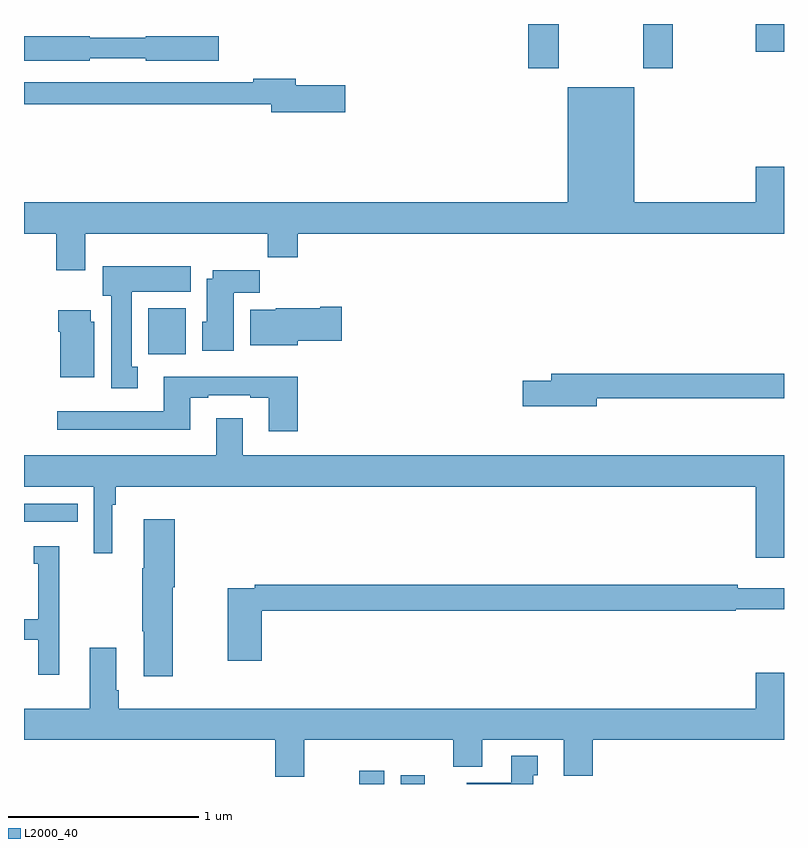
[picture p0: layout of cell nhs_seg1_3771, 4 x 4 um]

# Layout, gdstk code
import gdstk
lib = gdstk.Library(unit=1e-6, precision=1e-09)
def R(c, l, rs):  # rectangles x0, y0, x1, y1
    for r in rs: c.add(gdstk.rectangle(r[:2], r[2:], *l))
def P(c, l, *ps):  # polygons
    for p in ps: c.add(gdstk.Polygon(p, *l))
L2000_40 = (2000, 40)

nhs_seg1_3771 = lib.new_cell('nhs_seg1_3771')
R(nhs_seg1_3771, L2000_40, [(318.764,518.199,318.895,518.269), (318.983,518.199,319.108,518.245), (317,519.579,317.282,519.675), (317.654,520.46,317.851,520.702), (319.655,521.967,319.815,522.199), (320.26,521.967,320.415,522.199), (320.852,522.054,321,522.199)])
P(nhs_seg1_3771, L2000_40, [(317.346,522.018),(317.64,522.018),(317.64,522.005),(318.025,522.005),(318.025,522.135),(317.64,522.135),(317.64,522.127),(317.346,522.127),(317.346,522.135),(317,522.135),(317,522.005),(317.346,522.005)],
  [(318.691,521.876),(318.43,521.876),(318.43,521.912),(318.206,521.912),(318.206,521.892),(317,521.892),(317,521.776),(318.302,521.776),(318.302,521.734),(318.691,521.734)],
  [(317.323,521.096),(318.283,521.096),(318.283,520.972),(318.44,520.972),(318.44,521.096),(321,521.096),(321,521.449),(320.852,521.449),(320.852,521.26),(320.212,521.26),(320.212,521.866),(319.862,521.866),(319.862,521.26),(317,521.26),(317,521.096),(317.171,521.096),(317.171,520.902),(317.323,520.902)],
  [(317.599,520.394),(317.566,520.394),(317.566,520.79),(317.878,520.79),(317.878,520.924),(317.414,520.924),(317.414,520.77),(317.459,520.77),(317.459,520.281),(317.599,520.281)],
  [(318.103,520.784),(318.242,520.784),(318.242,520.903),(317.993,520.903),(317.993,520.858),(317.963,520.858),(317.963,520.632),(317.939,520.632),(317.939,520.478),(318.103,520.478)],
  [(318.442,520.532),(318.673,520.532),(318.673,520.71),(318.56,520.71),(318.56,520.702),(318.324,520.702),(318.324,520.696),(318.191,520.696),(318.191,520.508),(318.442,520.508)],
  [(317.371,520.632),(317.35,520.632),(317.35,520.693),(317.18,520.693),(317.18,520.58),(317.192,520.58),(317.192,520.34),(317.371,520.34)],
  [(320.014,520.23),(321,520.23),(321,520.358),(319.775,520.358),(319.775,520.322),(319.626,520.322),(319.626,520.187),(320.014,520.187)],
  [(318.44,520.342),(317.735,520.342),(317.735,520.161),(317.175,520.161),(317.175,520.064),(317.875,520.064),(317.875,520.233),(317.971,520.233),(317.971,520.245),(318.191,520.245),(318.191,520.233),(318.287,520.233),(318.287,520.056),(318.44,520.056)],
  [(321,519.928),(318.151,519.928),(318.151,520.123),(318.011,520.123),(318.011,519.928),(317,519.928),(317,519.764),(317.367,519.764),(317.367,519.414),(317.464,519.414),(317.464,519.668),(317.483,519.668),(317.483,519.764),(320.852,519.764),(320.852,519.39),(321,519.39)],
  [(317.784,519.234),(317.794,519.234),(317.794,519.592),(317.63,519.592),(317.63,519.334),(317.623,519.334),(317.623,519.004),(317.63,519.004),(317.63,518.766),(317.784,518.766)],
  [(317.185,519.451),(317.051,519.451),(317.051,519.357),(317.075,519.357),(317.075,519.066),(317,519.066),(317,518.958),(317.075,518.958),(317.075,518.775),(317.185,518.775)],
  [(318.251,519.112),(320.746,519.112),(320.746,519.12),(321,519.12),(321,519.229),(320.756,519.229),(320.756,519.248),(318.214,519.248),(318.214,519.228),(318.073,519.228),(318.073,518.847),(318.251,518.847)],
  [(318.475,518.432),(319.259,518.432),(319.259,518.291),(319.411,518.291),(319.411,518.432),(319.841,518.432),(319.841,518.243),(319.994,518.243),(319.994,518.432),(321,518.432),(321,518.785),(320.852,518.785),(320.852,518.596),(317.498,518.596),(317.498,518.692),(317.485,518.692),(317.485,518.917),(317.345,518.917),(317.345,518.596),(317,518.596),(317,518.432),(318.323,518.432),(318.323,518.238),(318.475,518.238)],
  [(319.681,518.244),(319.705,518.244),(319.705,518.347),(319.565,518.347),(319.565,518.206),(319.33,518.206),(319.33,518.199),(319.681,518.199)])

lib.write_gds('nhs_seg1_3771.gds')
